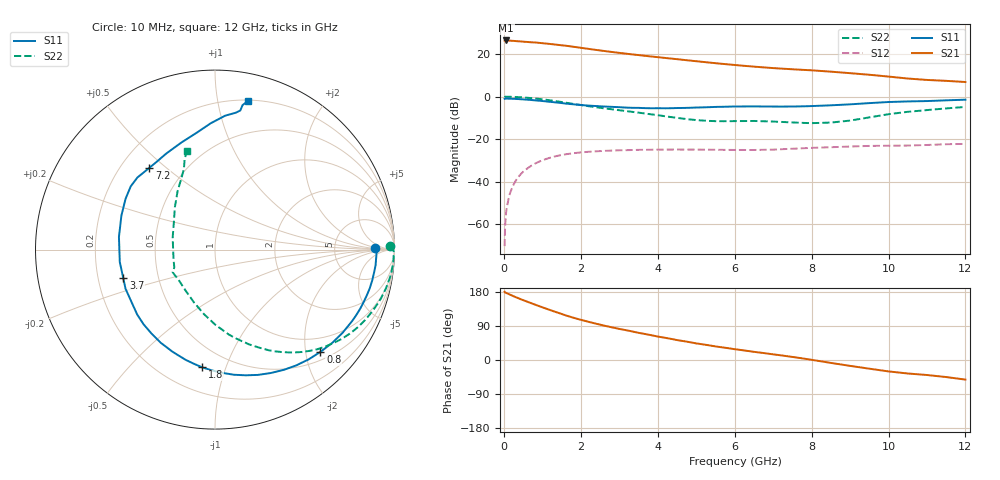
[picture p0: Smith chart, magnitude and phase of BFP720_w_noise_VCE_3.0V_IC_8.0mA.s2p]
! Infineon Technologies  Discrete & RF Semiconductors
! BFP720
! VCE =  3.0 V,  IC =  8.0 mA
! Common Emitter S-Parameters:  Aug 2012
# GHz  S  MA  R  50
!  f  S11  S21  S12  S22
! GHz  MAG  ANG  MAG  ANG  MAG  ANG  MAG  ANG
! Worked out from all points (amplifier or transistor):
!   105 points, 10 MHz to 12 GHz, reference 50 ohm
!   highest |S21| = 26.5 dB at 50 MHz (marker M1)
!   |S21| within 3 dB of that: start of sweep to 1.813 GHz
!   unconditionally stable (mu >= 1): start of sweep to 12.43 MHz; 5.883 GHz to 11.3 GHz
!   at 300 MHz: K = 0.07, MSG = 32.9 dB, |S12| = -39.6 dB
!   at 3.6 GHz: K = 0.63, MSG = 22.2 dB, |S12| = -25.1 dB
!   at 12 GHz: K = 0.80, MSG = 14.6 dB, |S12| = -22.3 dB
!   lowest NFmin = 0.48 dB at 450 MHz
!   S11 on the Smith chart (normalised r, x): 10 MHz: 17, +1; 800 MHz: 0.67, -2.30; 1.8 GHz: 0.36, -0.83; 3.7 GHz: 0.31, -0.14; 7.2 GHz: 0.32, +0.44; 12 GHz: 0.21, +1.22
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0.01  0.8897 0.5  20.98 179.9  0.0003 17.2  0.9764 1.2
0.02  0.9006 -1.0  20.89 178.3  0.0007 82.0  0.9955 -0.5
0.05  0.8993 -2.6  21.1 177.0  0.0019 90.8  0.9959 -1.7
0.25  0.8889 -13.9  20.59 168.0  0.0087 81.4  0.9871 -9.1
0.45  0.8676 -24.8  19.91 159.6  0.0156 75.4  0.9643 -16.3
0.8  0.8184 -44.1  18.93 146.2  0.0264 64.9  0.9072 -28.3
1  0.788 -55.0  18.17 138.8  0.0318 59.0  0.865 -35.0
1.3  0.7379 -71.1  17.02 128.1  0.0387 50.8  0.7952 -44.3
1.6  0.6874 -86.8  15.88 117.7  0.0439 43.5  0.7223 -52.5
1.8  0.66 -96.2  14.99 111.6  0.0465 39.2  0.6757 -57.5
2.1  0.6244 -108.8  13.73 103.3  0.0494 33.6  0.614 -64.1
2.4  0.6007 -120.2  12.59 95.5  0.0516 28.9  0.5613 -70.2
2.8  0.5757 -133.8  11.3 86.2  0.0537 23.7  0.5036 -77.4
3.7  0.5353 -162.7  9.099 67.9  0.056 14.9  0.3966 -93.2
4.1  0.533 -175.6  8.327 60.1  0.0565 11.8  0.3546 -101.7
5  0.5551 159.9  6.837 43.7  0.0566 6.3  0.2805 -126.0
6.1  0.5872 141.9  5.472 27.2  0.0555 3.3  0.2657 -148.6
7.2  0.5843 128.9  4.588 12.3  0.0576 3.9  0.2543 -154.6
8.5  0.6251 107.5  3.881 -7.7  0.0643 0.4  0.2453 164.0
9.5  0.7045 91.9  3.28 -22.9  0.0691 -4.1  0.325 133.5
10.5  0.7719 81.3  2.674 -35.6  0.0705 -8.4  0.4397 115.2
12  0.8485 77.5  2.214 -51.7  0.0771 -15.3  0.5735 105.9
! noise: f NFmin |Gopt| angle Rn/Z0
0.45  0.48  0.35  2  0.16
1.8  0.54  0.32  22  0.14
2.4  0.59  0.26  45  0.25
5.5  0.73  0.14  40  0.14
10  0.95  0.39  -84  0.22
